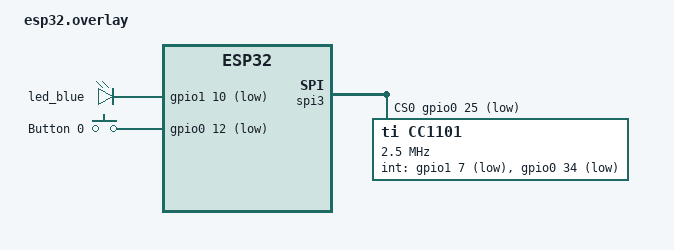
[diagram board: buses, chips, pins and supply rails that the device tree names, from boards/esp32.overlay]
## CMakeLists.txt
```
cmake_minimum_required(VERSION 3.20.0)

#set(ZEPHYR_EXTRA_MODULES  ${CMAKE_CURRENT_LIST_DIR})

find_package(Zephyr REQUIRED HINTS $ENV{ZEPHYR_BASE})

project(cc1101_sniffer)

target_sources(app PRIVATE
        src/main.c
        )

target_include_directories(app PRIVATE ${CMAKE_SOURCE_DIR}/../drivers/cc1101)
```

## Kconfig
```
# Copyright (c) 2021 Nordic Semiconductor ASA
# SPDX-License-Identifier: Apache-2.0
#
# This file is the application Kconfig entry point. All application Kconfig
# options can be defined here or included via other application Kconfig files.
# You can browse these options using the west targets menuconfig (terminal) or
# guiconfig (GUI).

menu "Zephyr"
source "Kconfig.zephyr"
endmenu

module = APP
module-str = APP
source "subsys/logging/Kconfig.template.log_config"
```

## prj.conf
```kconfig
CONFIG_LOG=y
CONFIG_LOG_BACKEND_UART=y

CONFIG_GPIO=y

CONFIG_CONSOLE=y
CONFIG_UART_CONSOLE=y

CONFIG_SPI=y
CONFIG_SPI_ASYNC=y

# We don't need it: it's enabled by the dt.
#CONFIG_CC1101=y
```

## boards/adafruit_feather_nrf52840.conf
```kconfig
CONFIG_FLASH_LOAD_OFFSET=0x26000
CONFIG_BUILD_OUTPUT_UF2=y
CONFIG_BUILD_OUTPUT_UF2_FAMILY_ID="0xada52840"

CONFIG_USB_DEVICE_STACK=y
CONFIG_USB_CDC_ACM=y
CONFIG_USB_DEVICE_PID=0x0110
CONFIG_USB_DEVICE_INITIALIZE_AT_BOOT=y
CONFIG_UART_INTERRUPT_DRIVEN=y 
```

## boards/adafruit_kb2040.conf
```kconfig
CONFIG_USB_DEVICE_STACK=y
CONFIG_USB_CDC_ACM=y
CONFIG_USB_DEVICE_PID=0x0110
CONFIG_USB_DEVICE_INITIALIZE_AT_BOOT=y
CONFIG_UART_INTERRUPT_DRIVEN=y 
```

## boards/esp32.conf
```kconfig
CONFIG_SPI_ESP32_INTERRUPT=y
```

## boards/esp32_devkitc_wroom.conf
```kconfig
CONFIG_SPI_ESP32_INTERRUPT=y
CONFIG_SERIAL=y
```

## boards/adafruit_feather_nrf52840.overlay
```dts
/ {
    chosen {
        zephyr,console = &cdc_acm_uart0;
        zephyr,shell-uart = &cdc_acm_uart0;
    };

   	aliases {
   		led0 = &led_blue;
   	};

   	leds {
   		compatible = "gpio-leds";
   		led_blue: led_0 {
   			gpios = <&gpio1 10 GPIO_ACTIVE_LOW>;
                };
   	};
};

&zephyr_udc0 {
    cdc_acm_uart0: cdc_acm_uart0 {
        compatible = "zephyr,cdc-acm-uart";
    };
};


&spi1 {
        status = "okay";
        cs-gpios = <&gpio0 25 GPIO_ACTIVE_LOW>;

        cc1101@0 {
                reg = <0>;
                compatible = "ti,cc1101";
                spi-max-frequency = <2500000>;
                int_gpios = <&gpio1 7 (GPIO_ACTIVE_LOW)>, <&gpio0 34 (GPIO_ACTIVE_LOW)>;
                       
                frequency = <868300>;
                bitrate = <38368>;
                status = "okay";
        };
};
```

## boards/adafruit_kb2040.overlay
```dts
/ {
    chosen {
        zephyr,console = &cdc_acm_uart0;
        zephyr,shell-uart = &cdc_acm_uart0;
    };

    aliases {
        led0 = &led_blue;
    };

    leds {
        compatible = "gpio-leds";
        led_blue: led_0 {
            gpios = <&gpio0 9 GPIO_ACTIVE_LOW>;
                };
    };

};

&zephyr_udc0 {
    cdc_acm_uart0: cdc_acm_uart0 {
        compatible = "zephyr,cdc-acm-uart";
    };
};

&spi0 {
        pinctrl-0 = <&spi0_default>;
        pinctrl-names = "default";

        status = "okay";
        cs-gpios = <&gpio0 5 GPIO_ACTIVE_LOW>;

        cc1101@0 {
                reg = <0>;
                compatible = "ti,cc1101";
                spi-max-frequency = <2500000>;
                int_gpios = <&gpio0 8 (GPIO_ACTIVE_LOW)>, <&gpio0 7 (GPIO_ACTIVE_LOW)>;
                       
                frequency = <868300>;
                bitrate = <38368>;
                status = "okay";
        };
};

&pinctrl {
    spi0_default: spi0_default {
        group1 {
            pinmux = <SPI0_CSN_P5>, <SPI0_SCK_P18>, <SPI0_TX_P19>;
        };
        group2 {
            pinmux = <SPI0_RX_P20>;
            input-enable;
        };
    };
};
```

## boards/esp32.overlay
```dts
#include <dt-bindings/pinctrl/esp32-pinctrl.h>

/ {
    aliases {
        led0 = &led_blue;
        sw = &sw0;
        spi = &spi3;
    };

    leds {
        compatible = "gpio-leds";
        led_blue: led_0 {
            gpios = <&gpio1 10 GPIO_ACTIVE_LOW>;
        };
    };

    buttons {
        compatible = "gpio-keys";
        sw0: sw_0 {
            gpios = <&gpio0 12 (GPIO_ACTIVE_LOW | GPIO_PULL_UP)>;
            label = "Button 0";
        };
    };

};


&pinctrl {
        spim3_default {
                group1 {
                        pinmux = < SPIM3_MOSI_GPIO18 >,
                                 < SPIM3_MISO_GPIO19 >,
                                 < SPIM3_SCLK_GPIO5 >;
                        bias-disable;
                };
                group2 {
                        pinmux = < SPIM3_CSEL_GPIO25 >;
                        bias-disable;
                };
        };
};

&spi3 {
        pinctrl-0 = <&spim3_default>;
        pinctrl-names = "default";

        status = "okay";
        cs-gpios = <&gpio0 25 GPIO_ACTIVE_LOW>;

        cc1101@0 {
                reg = <0>;
                compatible = "ti,cc1101";
                spi-max-frequency = <2500000>;
                int_gpios = <&gpio1 7 (GPIO_ACTIVE_LOW)>, <&gpio0 34 (GPIO_ACTIVE_LOW)>;
                       
                frequency = <868300>;
                bitrate = <38368>;
                status = "okay";
        };
};
```

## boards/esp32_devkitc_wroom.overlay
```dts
#include <dt-bindings/pinctrl/esp32-pinctrl.h>

/ {
    aliases {
        led0 = &led_blue;
        sw = &sw0;
        spi = &spi3;
    };

    leds {
        compatible = "gpio-leds";
        led_blue: led_0 {
            gpios = <&gpio1 10 GPIO_ACTIVE_LOW>;
        };
    };

    buttons {
        compatible = "gpio-keys";
        sw0: sw_0 {
            gpios = <&gpio0 12 (GPIO_ACTIVE_LOW | GPIO_PULL_UP)>;
            label = "Button 0";
        };
    };

};


&pinctrl {
        spim3_default {
                group1 {
                        pinmux = < SPIM3_MOSI_GPIO18 >,
                                 < SPIM3_MISO_GPIO19 >,
                                 < SPIM3_SCLK_GPIO5 >;
                        bias-disable;
                };
                group2 {
                        pinmux = < SPIM3_CSEL_GPIO25 >;
                        bias-disable;
                };
        };
};

&spi3 {
        pinctrl-0 = <&spim3_default>;
        pinctrl-names = "default";

        status = "okay";

        cc1101@0 {
                reg = <0>;
                compatible = "ti,cc1101";
                spi-max-frequency = <2500000>;
                int_gpios = <&gpio1 7 (GPIO_ACTIVE_LOW)>, <&gpio0 34 (GPIO_ACTIVE_LOW)>;
                cs-gpios = <&gpio0 25 GPIO_ACTIVE_LOW>;
                       
                frequency = <868300>;
                bitrate = <38368>;
                status = "okay";
        };
};
```

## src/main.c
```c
/*
 * Copyright (c) 2016 Intel Corporation
 *
 * SPDX-License-Identifier: Apache-2.0
 */

#define DT_DRV_COMPAT ti_cc1101

#include <zephyr/kernel.h>
#include <zephyr/drivers/gpio.h>
#include <zephyr/drivers/spi.h>
#include <zephyr/logging/log.h>

#include <app/drivers/cc1101.h>

#if DT_NUM_INST_STATUS_OKAY(DT_DRV_COMPAT) == 0
#error"cc1101 series coder is not defined in DTS"
#endif

LOG_MODULE_REGISTER(main);

void rxcallback(const struct device *dev, struct cc1101_event *evt, void *)
{
    printk("Recv: %d ", evt->len);
    for (int i = 0; i < evt->len; ++i) {
        printk ("%02x ", evt->rx[i]);
    }
    printk("\n");
}

int main(void)
{
    printk("booting\n");
	int ret;
	const struct device *cs;

    k_msleep(1500);

	cs = DEVICE_DT_GET_ANY(ti_cc1101);
	if(!cs) {
		printk("cc1101 not in devicetree\n");
		return -1;		
	}

	if (!device_is_ready(cs)) {
		printk("cc1101 device is not ready\n");
		return -1;
	}

	uint8_t chipVer = cc1101_find_chip(cs);
    if (chipVer > 0) {
        printk("Chip Version: %02x ", chipVer);
        switch (chipVer) {
        case CC1101_VERSION_CURRENT:
        	printk("current\n");
        	break;
        case CC1101_VERSION_CLONE:
        	printk("clone\n");
        	break;
        case CC1101_VERSION_LEGACY:
        	printk("legacy\n");
        	break;
        default:
        	printk("unknown/invalid\n");
        	break;
        }
    } else {
        printk("Error reading chip version: %d", chipVer);
    }


   cc1101_add_cb(cs, rxcallback, NULL);

    printk("Registers dump:");


    int err;
    uint8_t reg, v;
    for (reg = 0; reg < 0x30; ++reg) {
    	err = cc1101_get_reg(cs, reg, &v);
    	if (err) {
    		printk ("Error: cannot read register %08x, %d\n", reg, v);
    		return -1;
    	}

    	if ((reg % 8) == 0){
    		k_msleep(1);
	    	printk("\n%02x: ", reg);	
	    }
	    printk ("%02x ", v);
    }

    printk("\n");

    while (1) {
        /*
   		char buffer[] = "Hello World!";
    	err = cc1101_tx(cs, buffer, strlen(buffer));
    	if (err < 0) {
    		printk("Error transmitting: %d\n", err);
    	}*/
    	k_msleep(1000);
    }

    return 0;
}
```
